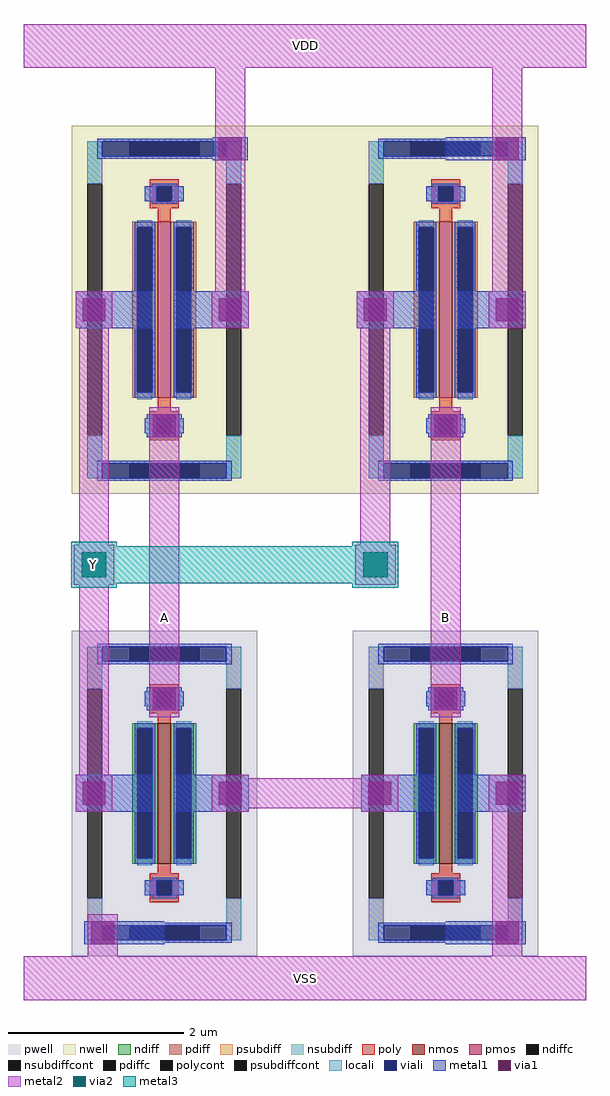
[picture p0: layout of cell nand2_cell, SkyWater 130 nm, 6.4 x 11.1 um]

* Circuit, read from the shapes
.subckt nand2_cell A B Y VDD VSS
XM1 n1 A Y VSS sky130_fd_pr__nfet_01v8 w=1.6 l=0.15
XM2 VSS B n1 VSS sky130_fd_pr__nfet_01v8 w=1.6 l=0.15
XM3 VDD A Y VDD sky130_fd_pr__pfet_01v8 w=2 l=0.15
XM4 VDD B Y VDD sky130_fd_pr__pfet_01v8 w=2 l=0.15
.ends

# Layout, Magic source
magic
tech sky130A
magscale 1 2
<< nwell >>
rect -531 681 531 1519
<< metal1 >>
rect 341 -42 502 42
rect 418 -42 502 42
rect 320 -343 502 -291
rect 420 -343 500 -291
rect -502 -343 -320 -291
rect -500 -343 -420 -291
rect -299 1058 -128 1142
rect -212 1058 -128 1142
rect -210 1440 -130 1492
rect 341 1058 502 1142
rect 418 1058 502 1142
rect 320 1440 502 1492
rect 420 1440 500 1492
rect -299 -42 -128 42
rect 128 -42 299 42
rect -212 -42 -128 42
rect 128 -42 212 42
rect -360 189 -280 241
rect -360 810 -280 862
rect 280 189 360 241
rect 280 810 360 862
rect -522 -42 -341 42
rect -522 1058 -341 1142
rect -522 -42 -438 42
rect -522 1058 -438 1142
rect 118 1058 299 1142
rect 118 1058 202 1142
<< via1 >>
rect 434 -26 486 26
rect 434 -343 486 -291
rect -486 -343 -434 -291
rect -196 1074 -144 1126
rect -196 1440 -144 1492
rect 434 1074 486 1126
rect 434 1440 486 1492
rect -196 -26 -144 26
rect 144 -26 196 26
rect -346 189 -294 241
rect -346 810 -294 862
rect 294 189 346 241
rect 294 810 346 862
rect -506 -26 -454 26
rect -506 1074 -454 1126
rect 134 1074 186 1126
<< metal2 >>
rect -640 -470 640 -370
rect -640 1650 640 1750
rect 418 -42 502 42
rect 426 -359 494 -275
rect 426 -454 494 34
rect -494 -359 -426 -275
rect -494 -454 -426 -283
rect -212 1058 -128 1142
rect -204 1424 -136 1508
rect -204 1066 -136 1734
rect 418 1058 502 1142
rect 426 1424 494 1508
rect 426 1066 494 1734
rect -212 -42 -128 42
rect 128 -42 212 42
rect -204 -34 204 34
rect -354 173 -286 257
rect -354 794 -286 878
rect -354 181 -286 870
rect 286 173 354 257
rect 286 794 354 878
rect 286 181 354 870
rect -522 -42 -438 42
rect -522 1058 -438 1142
rect -514 -34 -446 1134
rect -526 474 -434 566
rect 118 1058 202 1142
rect 126 486 194 1134
rect 114 474 206 566
<< via2 >>
rect -508 492 -452 548
rect 132 492 188 548
<< metal3 >>
rect -532 468 -428 572
rect 108 468 212 572
rect -522 478 202 562
use dev_n_nand XMNA
transform 1 0 -320 0 1 0
box -211 -370 211 370
use dev_n_nand XMNB
transform 1 0 320 0 1 0
box -211 -370 211 370
use dev_p_nand XMPA
transform 1 0 -320 0 1 1100
box -211 -419 211 419
use dev_p_nand XMPB
transform 1 0 320 0 1 1100
box -211 -419 211 419
<< labels >>
rlabel metal2 -340 380 -300 420 1 A
port 1 nsew
rlabel metal2 300 380 340 420 1 B
port 2 nsew
rlabel metal2 -500 500 -460 540 1 Y
port 3 nsew
rlabel metal2 -40 1670 40 1730 1 VDD
port 4 nsew
rlabel metal2 -40 -450 40 -390 1 VSS
port 5 nsew
<< properties >>
string FIXED_BBOX -640 -470 640 1750
<< end >>

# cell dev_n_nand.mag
magic
tech sky130A
magscale 1 2
<< pwell >>
rect -211 -370 211 370
<< nmos >>
rect -15 -160 15 160
<< ndiff >>
rect -73 148 -15 160
rect -73 -148 -61 148
rect -27 -148 -15 148
rect -73 -160 -15 -148
rect 15 148 73 160
rect 15 -148 27 148
rect 61 -148 73 148
rect 15 -160 73 -148
<< ndiffc >>
rect -61 -148 -27 148
rect 27 -148 61 148
<< psubdiff >>
rect -175 300 -79 334
rect 79 300 175 334
rect -175 238 -141 300
rect 141 238 175 300
rect -175 -300 -141 -238
rect 141 -300 175 -238
rect -175 -334 -79 -300
rect 79 -334 175 -300
<< psubdiffcont >>
rect -79 300 79 334
rect -175 -238 -141 238
rect 141 -238 175 238
rect -79 -334 79 -300
<< poly >>
rect -33 232 33 248
rect -33 198 -17 232
rect 17 198 33 232
rect -33 182 33 198
rect -15 160 15 182
rect -15 -182 15 -160
rect -33 -198 33 -182
rect -33 -232 -17 -198
rect 17 -232 33 -198
rect -33 -248 33 -232
<< polycont >>
rect -17 198 17 232
rect -17 -232 17 -198
<< locali >>
rect -175 238 -141 334
rect 141 238 175 334
rect -44 198 -17 232
rect 17 198 44 232
rect -61 148 -27 164
rect -61 -164 -27 -148
rect 27 148 61 164
rect 27 -164 61 -148
rect -44 -232 -17 -198
rect 17 -232 44 -198
rect -175 -334 -141 -238
rect 141 -334 175 -238
<< viali >>
rect -141 300 -79 334
rect -79 300 79 334
rect 79 300 141 334
rect -17 198 17 232
rect -61 -148 -27 148
rect 27 -148 61 148
rect -17 -232 17 -198
rect -141 -334 -79 -300
rect -79 -334 79 -300
rect 79 -334 141 -300
<< metal1 >>
rect -153 334 153 340
rect -153 300 -141 334
rect 141 300 153 334
rect -153 294 153 300
rect -29 232 29 238
rect -44 198 -17 232
rect 17 198 44 232
rect -29 192 29 198
rect -67 148 -21 160
rect -67 -148 -61 148
rect -27 -148 -21 148
rect -67 -160 -21 -148
rect 21 148 67 160
rect 21 -148 27 148
rect 61 -148 67 148
rect 21 -160 67 -148
rect -29 -198 29 -192
rect -44 -232 -17 -198
rect 17 -232 44 -198
rect -29 -238 29 -232
rect -153 -300 153 -294
rect -153 -334 -141 -300
rect 141 -334 153 -300
rect -153 -340 153 -334
<< properties >>
string FIXED_BBOX -158 -317 158 317
<< end >>

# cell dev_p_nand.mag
magic
tech sky130A
magscale 1 2
<< nwell >>
rect -211 -419 211 419
<< pmos >>
rect -15 -200 15 200
<< pdiff >>
rect -73 188 -15 200
rect -73 -188 -61 188
rect -27 -188 -15 188
rect -73 -200 -15 -188
rect 15 188 73 200
rect 15 -188 27 188
rect 61 -188 73 188
rect 15 -200 73 -188
<< pdiffc >>
rect -61 -188 -27 188
rect 27 -188 61 188
<< nsubdiff >>
rect -175 349 -79 383
rect 79 349 175 383
rect -175 287 -141 349
rect 141 287 175 349
rect -175 -349 -141 -287
rect 141 -349 175 -287
rect -175 -383 -79 -349
rect 79 -383 175 -349
<< nsubdiffcont >>
rect -79 349 79 383
rect -175 -287 -141 287
rect 141 -287 175 287
rect -79 -383 79 -349
<< poly >>
rect -33 281 33 297
rect -33 247 -17 281
rect 17 247 33 281
rect -33 231 33 247
rect -15 200 15 231
rect -15 -231 15 -200
rect -33 -247 33 -231
rect -33 -281 -17 -247
rect 17 -281 33 -247
rect -33 -297 33 -281
<< polycont >>
rect -17 247 17 281
rect -17 -281 17 -247
<< locali >>
rect -175 287 -141 383
rect 141 287 175 383
rect -44 247 -17 281
rect 17 247 44 281
rect -61 188 -27 204
rect -61 -204 -27 -188
rect 27 188 61 204
rect 27 -204 61 -188
rect -44 -281 -17 -247
rect 17 -281 44 -247
rect -175 -383 -141 -287
rect 141 -383 175 -287
<< viali >>
rect -141 349 -79 383
rect -79 349 79 383
rect 79 349 141 383
rect -17 247 17 281
rect -61 -188 -27 188
rect 27 -188 61 188
rect -17 -281 17 -247
rect -141 -383 -79 -349
rect -79 -383 79 -349
rect 79 -383 141 -349
<< metal1 >>
rect -153 383 153 389
rect -153 349 -141 383
rect 141 349 153 383
rect -153 343 153 349
rect -29 281 29 287
rect -44 247 -17 281
rect 17 247 44 281
rect -29 241 29 247
rect -67 188 -21 200
rect -67 -188 -61 188
rect -27 -188 -21 188
rect -67 -200 -21 -188
rect 21 188 67 200
rect 21 -188 27 188
rect 61 -188 67 188
rect 21 -200 67 -188
rect -29 -247 29 -241
rect -44 -281 -17 -247
rect 17 -281 44 -247
rect -29 -287 29 -281
rect -153 -349 153 -343
rect -153 -383 -141 -349
rect 141 -383 153 -349
rect -153 -389 153 -383
<< properties >>
string FIXED_BBOX -158 -366 158 366
<< end >>
